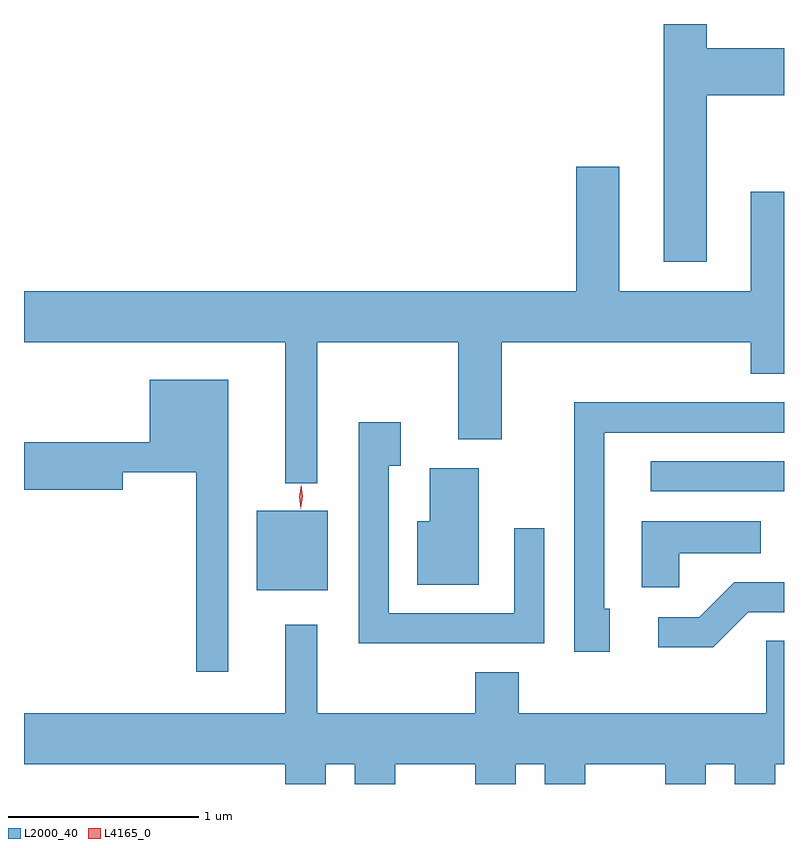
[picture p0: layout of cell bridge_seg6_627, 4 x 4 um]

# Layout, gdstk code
import gdstk
lib = gdstk.Library(unit=1e-6, precision=1e-09)
def R(c, l, rs):  # rectangles x0, y0, x1, y1
    for r in rs: c.add(gdstk.rectangle(r[:2], r[2:], *l))
def P(c, l, *ps):  # polygons
    for p in ps: c.add(gdstk.Polygon(p, *l))
L2000_40 = (2000, 40)
L4165_0 = (4165, 0)

bridge_seg6_627 = lib.new_cell('bridge_seg6_627')
R(bridge_seg6_627, L2000_40, [(316.501,1650.851,316.874,1651.269), (318.573,1651.371,319.275,1651.529)])
P(bridge_seg6_627, L2000_40, [(318.869,1653.456),(319.275,1653.456),(319.275,1653.704),(318.869,1653.704),(318.869,1653.831),(318.641,1653.831),(318.641,1652.581),(318.869,1652.581)],
  [(316.819,1652.156),(317.561,1652.156),(317.561,1651.646),(317.789,1651.646),(317.789,1652.156),(319.101,1652.156),(319.101,1651.991),(319.275,1651.991),(319.275,1652.949),(319.101,1652.949),(319.101,1652.424),(318.409,1652.424),(318.409,1653.079),(318.181,1653.079),(318.181,1652.424),(315.275,1652.424),(315.275,1652.156),(316.651,1652.156),(316.651,1651.413),(316.819,1651.413)],
  [(316.349,1651.959),(315.936,1651.959),(315.936,1651.629),(315.275,1651.629),(315.275,1651.381),(315.794,1651.381),(315.794,1651.471),(316.181,1651.471),(316.181,1650.423),(316.349,1650.423)],
  [(318.359,1650.754),(318.329,1650.754),(318.329,1651.681),(319.275,1651.681),(319.275,1651.839),(318.171,1651.839),(318.171,1650.526),(318.359,1650.526)],
  [(318.014,1651.178),(317.856,1651.178),(317.856,1650.729),(317.194,1650.729),(317.194,1651.506),(317.259,1651.506),(317.259,1651.734),(317.036,1651.734),(317.036,1650.571),(318.014,1650.571)],
  [(317.669,1651.494),(317.411,1651.494),(317.411,1651.214),(317.346,1651.214),(317.346,1650.881),(317.669,1650.881)],
  [(318.724,1651.046),(319.153,1651.046),(319.153,1651.214),(318.526,1651.214),(318.526,1650.866),(318.724,1650.866)],
  [(319.087,1650.736),(319.275,1650.736),(319.275,1650.894),(319.014,1650.894),(318.829,1650.709),(318.613,1650.709),(318.613,1650.551),(318.902,1650.551)],
  [(316.864,1649.936),(317.016,1649.936),(317.016,1649.831),(317.229,1649.831),(317.229,1649.936),(317.651,1649.936),(317.651,1649.831),(317.864,1649.831),(317.864,1649.936),(318.016,1649.936),(318.016,1649.831),(318.229,1649.831),(318.229,1649.936),(318.651,1649.936),(318.651,1649.831),(318.864,1649.831),(318.864,1649.936),(319.016,1649.936),(319.016,1649.831),(319.229,1649.831),(319.229,1649.936),(319.275,1649.936),(319.275,1650.584),(319.181,1650.584),(319.181,1650.204),(317.879,1650.204),(317.879,1650.419),(317.651,1650.419),(317.651,1650.204),(316.819,1650.204),(316.819,1650.668),(316.651,1650.668),(316.651,1650.204),(315.275,1650.204),(315.275,1649.936),(316.651,1649.936),(316.651,1649.831),(316.864,1649.831)])
P(bridge_seg6_627, L4165_0, [(316.732,1651.278),(316.731,1651.279),(316.723,1651.343),(316.734,1651.407),(316.735,1651.407),(316.735,1651.407),(316.743,1651.343),(316.732,1651.279)])

lib.write_gds('bridge_seg6_627.gds')
